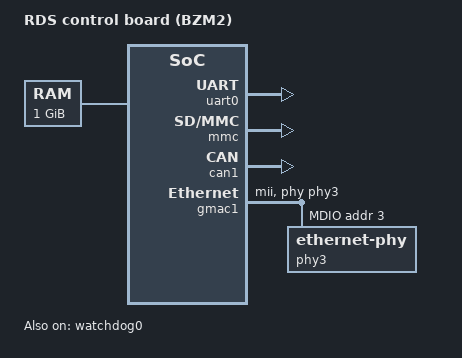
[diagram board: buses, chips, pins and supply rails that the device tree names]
// SPDX-License-Identifier: GPL-2.0-or-later
/*
 * RDS control board (Cyclone V SoC), our own device tree (#42).
 * The HPS side is mainline's socfpga_cyclone5.dtsi. The FPGA side is
 * generated from hw.toml into rds-fpga.dtsi; edit hw.toml, never the include.
 * No node hogs any GPIO line: which pin enables the supply is UNMEASURED, and
 * the supply must never be switched by the device tree (tools/hw2dts check-dts).
 */
/dts-v1/;
#include "intel/socfpga/socfpga_cyclone5.dtsi"
#include "rds-fpga.dtsi"

/ {
	model = "RDS control board (BZM2)";
	compatible = "blockscale,rds-control", "altr,socfpga-cyclone5", "altr,socfpga";

	chosen {
		stdout-path = "serial0:115200n8";
		/* UIO binds the FPGA blocks we drive from userspace (#14). */
		bootargs = "uio_pdrv_genirq.of_id=generic-uio";
	};

	aliases {
		serial0 = &uart0;
		ethernet0 = &gmac1;
	};

	memory@0 {
		device_type = "memory";
		reg = <0x0 0x40000000>;	/* 1 GiB, MEASURED u:inventory/20260915T014110Z/system.txt */
	};

	reserved-memory {
		#address-cells = <1>;
		#size-cells = <1>;
		ranges;

		/*
		 * #58 (G7): an oops survives a warm reset in pstore. 32 MiB below the
		 * top of RAM, clear of where U-Boot relocates itself (INFERRED).
		 * Whether the SPL scrubs SDRAM for ECC on a warm reset is UNMEASURED
		 * until #61; if it does, pstore survives only a kernel-initiated
		 * reboot that skips the scrub, and this note must say so.
		 */
		ramoops@3e000000 {
			compatible = "ramoops";
			reg = <0x3e000000 0x100000>;
			record-size = <0x20000>;
			console-size = <0x20000>;
		};
	};
};

&uart0 { status = "okay"; };
&mmc { status = "okay"; };
&watchdog0 { status = "okay"; };
&can1 { status = "okay"; };	/* the supply link, #72 */

/* Second EMAC: the PHY at MDIO address 3 is MEASURED (stock boot log, PHY id
 * 0181b8b1, u:inventory/20260915T014110Z/logs.txt), and the link came up there
 * at 100 Mbit/s full duplex. MII mode is MEASURED: the booted device tree gives
 * phy-mode "mii" on /sopc@0/ethernet@0xff702000 (u:inventory/readonly-measure-
 * 20260928T201729Z/fdt.dts, #61). It implies the fabric carries the link, so the FPGA
 * must be configured before Linux. */
&gmac1 {
	status = "okay";
	phy-mode = "mii";
	phy-handle = <&phy3>;
	mdio {
		compatible = "snps,dwmac-mdio";
		#address-cells = <1>;
		#size-cells = <0>;
		phy3: ethernet-phy@3 { reg = <3>; };
	};
};

/* NAND stays disabled: a mainline NAND probe can write a bad-block table
 * (DESIGN.md risk 1). It is enabled only by the canary work, #51 and #59. */
